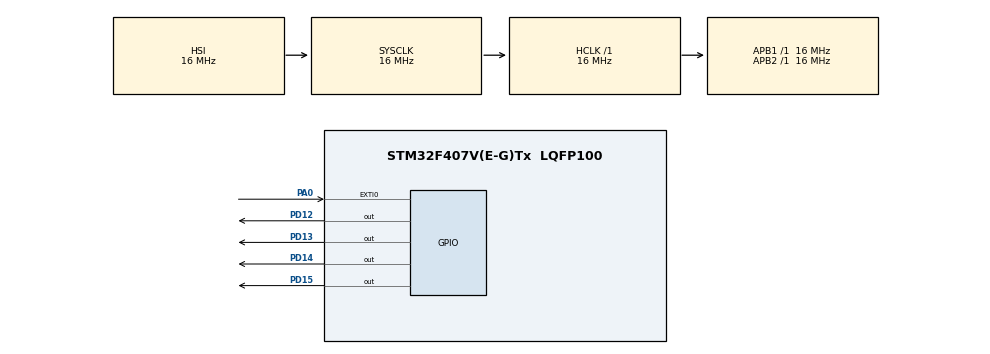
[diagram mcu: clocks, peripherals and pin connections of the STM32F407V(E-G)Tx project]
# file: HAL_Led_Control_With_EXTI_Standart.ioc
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FREERTOS.Tasks01=led,0,128,ledFlashTask,Default,NULL,Dynamic,NULL,NULL
Mcu.Family=STM32F4
Mcu.Name=STM32F407V(E-G)Tx
Mcu.Package=LQFP100
NVIC.EXTI0_IRQn=true\:5\:0\:false\:false\:true\:true\:true\:true\:true
NVIC.PriorityGroup=NVIC_PRIORITYGROUP_4
PA0-WKUP.Signal=GPXTI0
PD12.Signal=GPIO_Output
PD13.Signal=GPIO_Output
PD14.Signal=GPIO_Output
PD15.Signal=GPIO_Output
ProjectManager.HeapSize=0x200
ProjectManager.StackSize=0x400
ProjectManager.TargetToolchain=STM32CubeIDE
RCC.AHBFreq_Value=16000000
RCC.APB1Freq_Value=16000000
RCC.APB2Freq_Value=16000000
RCC.CortexFreq_Value=16000000
RCC.HSE_VALUE=25000000
RCC.HSI_VALUE=16000000
RCC.LSE_VALUE=32768
RCC.SYSCLKFreq_VALUE=16000000
RCC.VCOOutputFreq_Value=192000000
VP_FREERTOS_VS_CMSIS_V1.Mode=CMSIS_V1
board=custom

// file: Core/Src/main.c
/* USER CODE BEGIN Header */
/**
  ******************************************************************************
  * @file           : main.c
  * @brief          : Main program body
  ******************************************************************************
  * @attention
  *
  * Copyright (c) 2022 STMicroelectronics.
  * All rights reserved.
  *
  * This software is licensed under terms that can be found in the LICENSE file
  * in the root directory of this software component.
  * If no LICENSE file comes with this software, it is provided AS-IS.
  *
  ******************************************************************************
  */
/* USER CODE END Header */
#include "main.h"

/* USER CODE BEGIN Includes */
#include "FreeRTOS.h"
#include "task.h"
/* USER CODE END Includes */

/* USER CODE BEGIN PV */
 TaskHandle_t myLedTaskHandle;
 uint8_t buttonCount=0;
/* USER CODE END PV */

void SystemClock_Config(void);
static void MX_GPIO_Init(void);
void ledFlashTask(void const * argument);

int main(void)
{

  /* MCU Configuration--------------------------------------------------------*/

  /* Reset of all peripherals, Initializes the Flash interface and the Systick. */
  HAL_Init();

  /* Configure the system clock */
  SystemClock_Config();

  /* Initialize all configured peripherals */
  MX_GPIO_Init();

  /* Create the thread(s) */
  /* definition and creation of led */
  xTaskCreate(ledFlashTask, "Mission of Led", 128, NULL, 2, &myLedTaskHandle);

  /* Start scheduler */
 vTaskStartScheduler();

  /* We should never get here as control is now taken by the scheduler */
  /* Infinite loop */
  while (1)
  {

  }
}

void SystemClock_Config(void)
{
  RCC_OscInitTypeDef RCC_OscInitStruct = {0};
  RCC_ClkInitTypeDef RCC_ClkInitStruct = {0};

  /** Configure the main internal regulator output voltage
  */
  __HAL_RCC_PWR_CLK_ENABLE();
  __HAL_PWR_VOLTAGESCALING_CONFIG(PWR_REGULATOR_VOLTAGE_SCALE1);

  /** Initializes the RCC Oscillators according to the specified parameters
  * in the RCC_OscInitTypeDef structure.
  */
  RCC_OscInitStruct.OscillatorType = RCC_OSCILLATORTYPE_HSI;
  RCC_OscInitStruct.HSIState = RCC_HSI_ON;
  RCC_OscInitStruct.HSICalibrationValue = RCC_HSICALIBRATION_DEFAULT;
  RCC_OscInitStruct.PLL.PLLState = RCC_PLL_NONE;
  if (HAL_RCC_OscConfig(&RCC_OscInitStruct) != HAL_OK)
  {
    Error_Handler();
  }

  /** Initializes the CPU, AHB and APB buses clocks
  */
  RCC_ClkInitStruct.ClockType = RCC_CLOCKTYPE_HCLK|RCC_CLOCKTYPE_SYSCLK
                              |RCC_CLOCKTYPE_PCLK1|RCC_CLOCKTYPE_PCLK2;
  RCC_ClkInitStruct.SYSCLKSource = RCC_SYSCLKSOURCE_HSI;
  RCC_ClkInitStruct.AHBCLKDivider = RCC_SYSCLK_DIV1;
  RCC_ClkInitStruct.APB1CLKDivider = RCC_HCLK_DIV1;
  RCC_ClkInitStruct.APB2CLKDivider = RCC_HCLK_DIV1;

  if (HAL_RCC_ClockConfig(&RCC_ClkInitStruct, FLASH_LATENCY_0) != HAL_OK)
  {
    Error_Handler();
  }
}

static void MX_GPIO_Init(void)
{
  GPIO_InitTypeDef GPIO_InitStruct = {0};

  /* GPIO Ports Clock Enable */
  __HAL_RCC_GPIOA_CLK_ENABLE();
  __HAL_RCC_GPIOD_CLK_ENABLE();

  /*Configure GPIO pin Output Level */
  HAL_GPIO_WritePin(GPIOD, GPIO_PIN_12|GPIO_PIN_13|GPIO_PIN_14|GPIO_PIN_15, GPIO_PIN_RESET);

  /*Configure GPIO pin : PA0 */
  GPIO_InitStruct.Pin = GPIO_PIN_0;
  GPIO_InitStruct.Mode = GPIO_MODE_IT_RISING;
  GPIO_InitStruct.Pull = GPIO_NOPULL;
  HAL_GPIO_Init(GPIOA, &GPIO_InitStruct);

  /*Configure GPIO pins : PD12 PD13 PD14 PD15 */
  GPIO_InitStruct.Pin = GPIO_PIN_12|GPIO_PIN_13|GPIO_PIN_14|GPIO_PIN_15;
  GPIO_InitStruct.Mode = GPIO_MODE_OUTPUT_PP;
  GPIO_InitStruct.Pull = GPIO_NOPULL;
  GPIO_InitStruct.Speed = GPIO_SPEED_FREQ_LOW;
  HAL_GPIO_Init(GPIOD, &GPIO_InitStruct);

  /* EXTI interrupt init*/
  HAL_NVIC_SetPriority(EXTI0_IRQn, 5, 0);
  HAL_NVIC_EnableIRQ(EXTI0_IRQn);

}

void ledFlashTask(void const * argument)
{
  /* USER CODE BEGIN 5 */
  /* Infinite loop */
  for(;;)
  {
	  if ( buttonCount ==0 )
	  	  	              {
	  	  	      	     HAL_GPIO_WritePin(GPIOD, GPIO_PIN_12 | GPIO_PIN_13 | GPIO_PIN_14 | GPIO_PIN_15, GPIO_PIN_RESET);
	  	  	              }

	  	  	        else if(buttonCount == 1)
	  	  	              {
	  	  	      	     HAL_GPIO_TogglePin(GPIOD, GPIO_PIN_12 | GPIO_PIN_13 | GPIO_PIN_14 | GPIO_PIN_15);
	  	  	      	vTaskDelay(1000);      //vTaskDelay(1000)
	  	  	              }

	  	  	        else if(buttonCount == 2)
	  	  	              {
	  	  	      	  HAL_GPIO_TogglePin(GPIOD, GPIO_PIN_12 | GPIO_PIN_13 | GPIO_PIN_14 | GPIO_PIN_15);
	  	  	      vTaskDelay(750);
	  	  	              }

	  	  	        else if(buttonCount == 3)
	  	  	              {
	  	  	      	  HAL_GPIO_TogglePin(GPIOD, GPIO_PIN_12 | GPIO_PIN_13 | GPIO_PIN_14 | GPIO_PIN_15);
	  	  	      vTaskDelay(500);
	  	  	              }

	  	  	        else if(buttonCount == 4)
	  	  	              {
	  	  	        vTaskDelay(250);
	  	  	              }
  }
  /* USER CODE END 5 */
}

void Error_Handler(void)
{
  __disable_irq();
  while (1)
  {
  }
}
